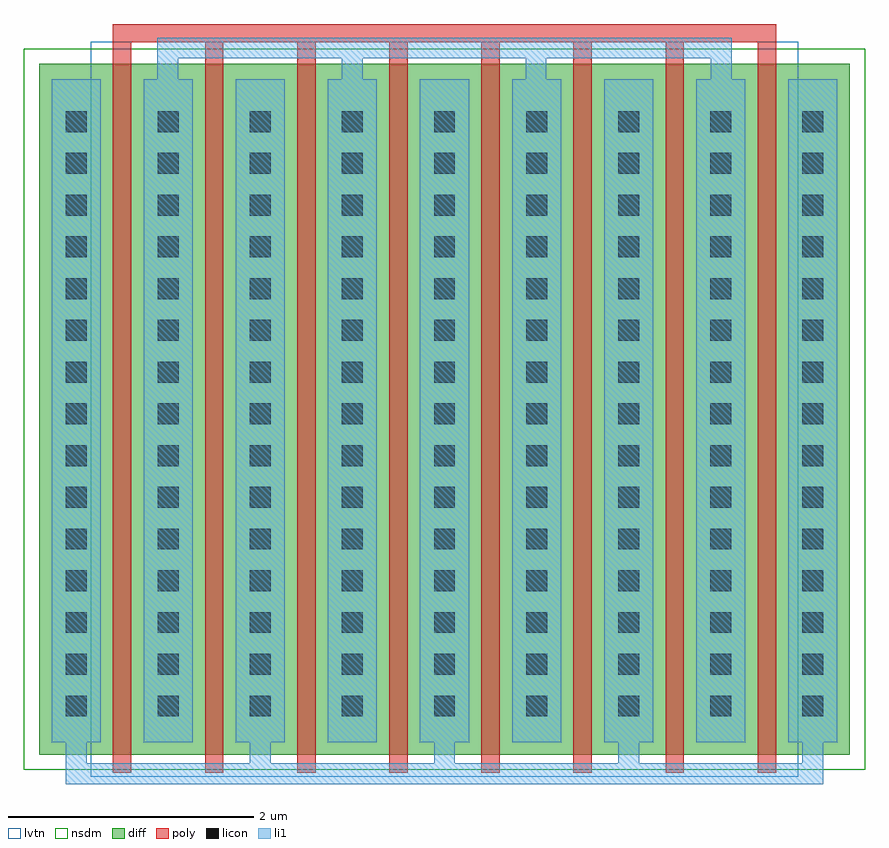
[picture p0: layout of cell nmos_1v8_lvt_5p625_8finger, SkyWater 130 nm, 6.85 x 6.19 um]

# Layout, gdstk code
import gdstk
lib = gdstk.Library(unit=1e-6, precision=1e-09)
def R(c, l, rs):  # rectangles x0, y0, x1, y1
    for r in rs: c.add(gdstk.rectangle(r[:2], r[2:], *l))
def A(c, l, x, y, w, h, nx, ny, dx, dy):  # array of equal rectangles
    R(c, l, [(x+i*dx, y+j*dy, x+i*dx+w, y+j*dy+h) for i in range(nx) for j in range(ny)])
diff = (65, 20)
poly = (66, 20)
licon = (66, 44)
li1 = (67, 20)
nsdm = (93, 44)
lvtn = (125, 44)

nmos_1v8_lvt_5p625_8fing = lib.new_cell('nmos_1v8_lvt_5p625_8finger')
R(nmos_1v8_lvt_5p625_8fing, diff, [(-0.6,0,6,5.625)])
A(nmos_1v8_lvt_5p625_8fing, poly, 0, -0.15, 0.15, 5.95, 8, 1, 0.75, 0)
A(nmos_1v8_lvt_5p625_8fing, licon, -0.385, 0.31, 0.17, 0.17, 9, 15, 0.75, 0.34)
A(nmos_1v8_lvt_5p625_8fing, li1, -0.5, 0.1, 0.4, 5.4, 9, 1, 0.75, 0)
R(nmos_1v8_lvt_5p625_8fing, nsdm, [(-0.725,-0.125,6.125,5.75)])
R(nmos_1v8_lvt_5p625_8fing, lvtn, [(-0.18,-0.18,5.58,5.805)])
nmos_1v8_lvt_5p625_8fing.add(gdstk.FlexPath([(0.075,5.805),(0.075,5.875),(5.32,5.875),(5.325,5.875),(5.325,5.8)], 0.15, ends="flush", simple_path=True, layer=66, datatype=20))  # poly
nmos_1v8_lvt_5p625_8fing.add(gdstk.FlexPath([(0.075,5.805),(0.075,5.8),(0.075,5.8)], 0.15, ends="flush", simple_path=True, layer=66, datatype=20))  # poly
nmos_1v8_lvt_5p625_8fing.add(gdstk.FlexPath([(-0.3,0.1),(-0.3,-0.07)], 0.17, ends="flush", simple_path=True, layer=67, datatype=20))  # li1
nmos_1v8_lvt_5p625_8fing.add(gdstk.FlexPath([(5.7,0.1),(5.7,-0.155),(-0.385,-0.155)], 0.17, ends="flush", simple_path=True, layer=67, datatype=20))  # li1
nmos_1v8_lvt_5p625_8fing.add(gdstk.FlexPath([(1.2,0.31),(1.2,-0.07)], 0.17, ends="flush", simple_path=True, layer=67, datatype=20))  # li1
nmos_1v8_lvt_5p625_8fing.add(gdstk.FlexPath([(2.7,0.1),(2.7,-0.07),(2.7,-0.07)], 0.17, ends="flush", simple_path=True, layer=67, datatype=20))  # li1
nmos_1v8_lvt_5p625_8fing.add(gdstk.FlexPath([(4.2,0.1),(4.2,-0.07)], 0.17, ends="flush", simple_path=True, layer=67, datatype=20))  # li1
nmos_1v8_lvt_5p625_8fing.add(gdstk.FlexPath([(4.955,5.5),(4.955,5.755),(0.445,5.755),(0.445,5.505)], 0.17, ends="flush", simple_path=True, layer=67, datatype=20))  # li1
nmos_1v8_lvt_5p625_8fing.add(gdstk.FlexPath([(0.445,5.5),(0.445,5.505),(0.445,5.505)], 0.17, ends="flush", simple_path=True, layer=67, datatype=20))  # li1
nmos_1v8_lvt_5p625_8fing.add(gdstk.FlexPath([(1.95,5.5),(1.95,5.67)], 0.17, ends="flush", simple_path=True, layer=67, datatype=20))  # li1
nmos_1v8_lvt_5p625_8fing.add(gdstk.FlexPath([(3.445,5.5),(3.445,5.67)], 0.17, ends="flush", simple_path=True, layer=67, datatype=20))  # li1

lib.write_gds('nmos_1v8_lvt_5p625_8finger.gds')
